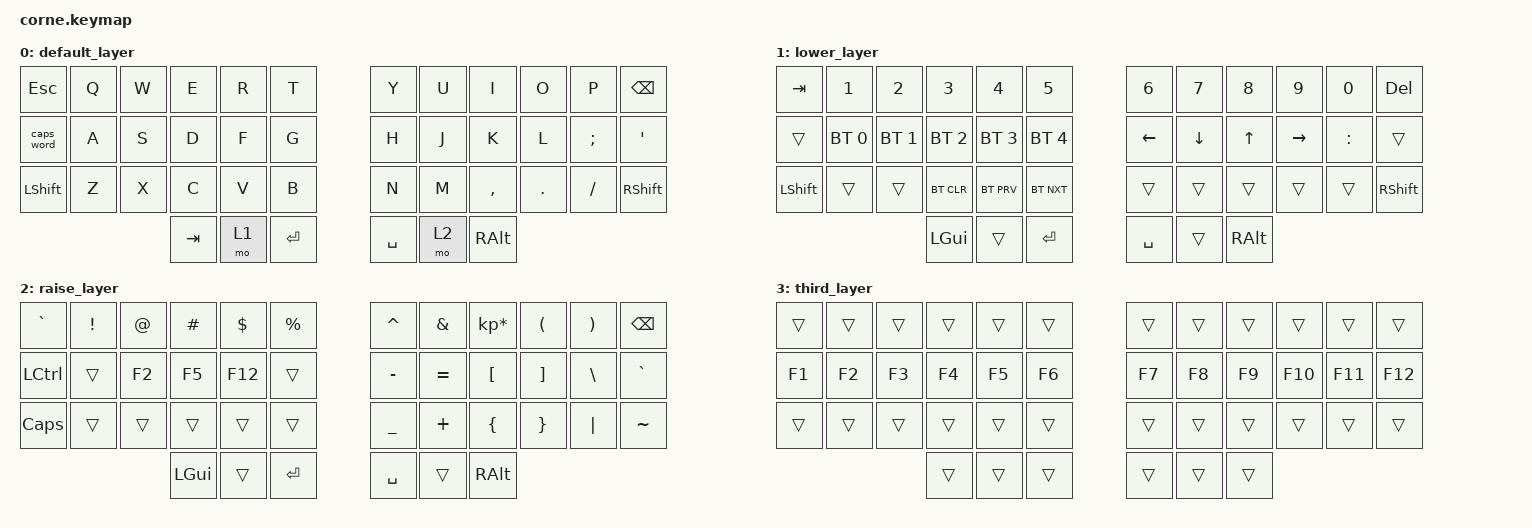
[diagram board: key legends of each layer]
/*
 * Copyright (c) 2020 The ZMK Contributors
 *
 * SPDX-License-Identifier: MIT
 */

#include <behaviors.dtsi>
#include <dt-bindings/zmk/bt.h>
#include <dt-bindings/zmk/keys.h>

/ {
    keymap {
        compatible = "zmk,keymap";

        default_layer {
            // -----------------------------------------------------------------------------------------
            // |  TAB |  Q  |  W  |  E  |  R  |  T  |   |  Y  |  U   |  I  |  O  |  P  | BKSP |
            // | CTRL |  A  |  S  |  D  |  F  |  G  |   |  H  |  J   |  K  |  L  |  ;  |  '   |
            // | SHFT |  Z  |  X  |  C  |  V  |  B  |   |  N  |  M   |  ,  |  .  |  /  | ESC  |
            //                    | GUI | LWR | SPC |   | ENT | RSE  | ALT |

            bindings = <
&kp ESC     &kp Q  &kp W  &kp E    &kp R  &kp T        &kp Y      &kp U  &kp I      &kp O    &kp P     &kp BSPC
&caps_word  &kp A  &kp S  &kp D    &kp F  &kp G        &kp H      &kp J  &kp K      &kp L    &kp SEMI  &kp SQT
&kp LSHFT   &kp Z  &kp X  &kp C    &kp V  &kp B        &kp N      &kp M  &kp COMMA  &kp DOT  &kp FSLH  &kp RIGHT_SHIFT
                          &kp TAB  &mo 1  &kp ENTER    &kp SPACE  &mo 2  &kp RALT
            >;
        };

        lower_layer {
            // -----------------------------------------------------------------------------------------
            // |  TAB |  1  |  2  |  3  |  4  |  5  |   |  6  |  7  |  8  |  9  |  0  | BKSP |
            // | BTCLR| BT1 | BT2 | BT3 | BT4 | BT5 |   | LFT | DWN |  UP | RGT |     |      |
            // | SHFT |     |     |     |     |     |   |     |     |     |     |     |      |
            //                    | GUI |     | SPC |   | ENT |     | ALT |

            bindings = <
&kp TAB    &kp N1        &kp N2        &kp N3        &kp N4        &kp N5          &kp N6     &kp N7    &kp N8    &kp N9     &kp N0     &kp DELETE
&trans     &bt BT_SEL 0  &bt BT_SEL 1  &bt BT_SEL 2  &bt BT_SEL 3  &bt BT_SEL 4    &kp LEFT   &kp DOWN  &kp UP    &kp RIGHT  &kp COLON  &trans
&kp LSHFT  &trans        &trans        &bt BT_CLR    &bt BT_PRV    &bt BT_NXT      &trans     &trans    &trans    &trans     &trans     &kp RIGHT_SHIFT
                                       &kp LGUI      &trans        &kp ENTER       &kp SPACE  &trans    &kp RALT
            >;
        };

        raise_layer {
            // -----------------------------------------------------------------------------------------
            // |  TAB |  !  |  @  |  #  |  $  |  %  |   |  ^  |  &  |  *  |  (  |  )  | BKSP |
            // | CTRL |     |     |     |     |     |   |  -  |  =  |  [  |  ]  |  \  |  `   |
            // | SHFT |     |     |     |     |     |   |  _  |  +  |  {  |  }  | "|" |  ~   |
            //                    | GUI |     | SPC |   | ENT |     | ALT |

            bindings = <
&kp GRAVE     &kp EXCL  &kp AT  &kp HASH  &kp DLLR  &kp PRCNT    &kp CARET  &kp AMPS   &kp KP_MULTIPLY  &kp LPAR  &kp RPAR  &kp BSPC
&kp LCTRL     &trans    &kp F2  &kp F5    &kp F12   &trans       &kp MINUS  &kp EQUAL  &kp LBKT         &kp RBKT  &kp BSLH  &kp GRAVE
&kp CAPSLOCK  &trans    &trans  &trans    &trans    &trans       &kp UNDER  &kp PLUS   &kp LBRC         &kp RBRC  &kp PIPE  &kp TILDE
                                &kp LGUI  &trans    &kp ENTER    &kp SPACE  &trans     &kp RALT
            >;
        };

        third_layer {
            bindings = <
&trans  &trans  &trans  &trans  &trans  &trans    &trans  &trans  &trans  &trans   &trans   &trans
&kp F1  &kp F2  &kp F3  &kp F4  &kp F5  &kp F6    &kp F7  &kp F8  &kp F9  &kp F10  &kp F11  &kp F12
&trans  &trans  &trans  &trans  &trans  &trans    &trans  &trans  &trans  &trans   &trans   &trans
                        &trans  &trans  &trans    &trans  &trans  &trans
            >;
        };
    };

    conditional_layers {
        compatible = "zmk,conditional-layers";

        getThirdLayer {
            if-layers = <1 2>;
            then-layer = <3>;
        };
    };
};
